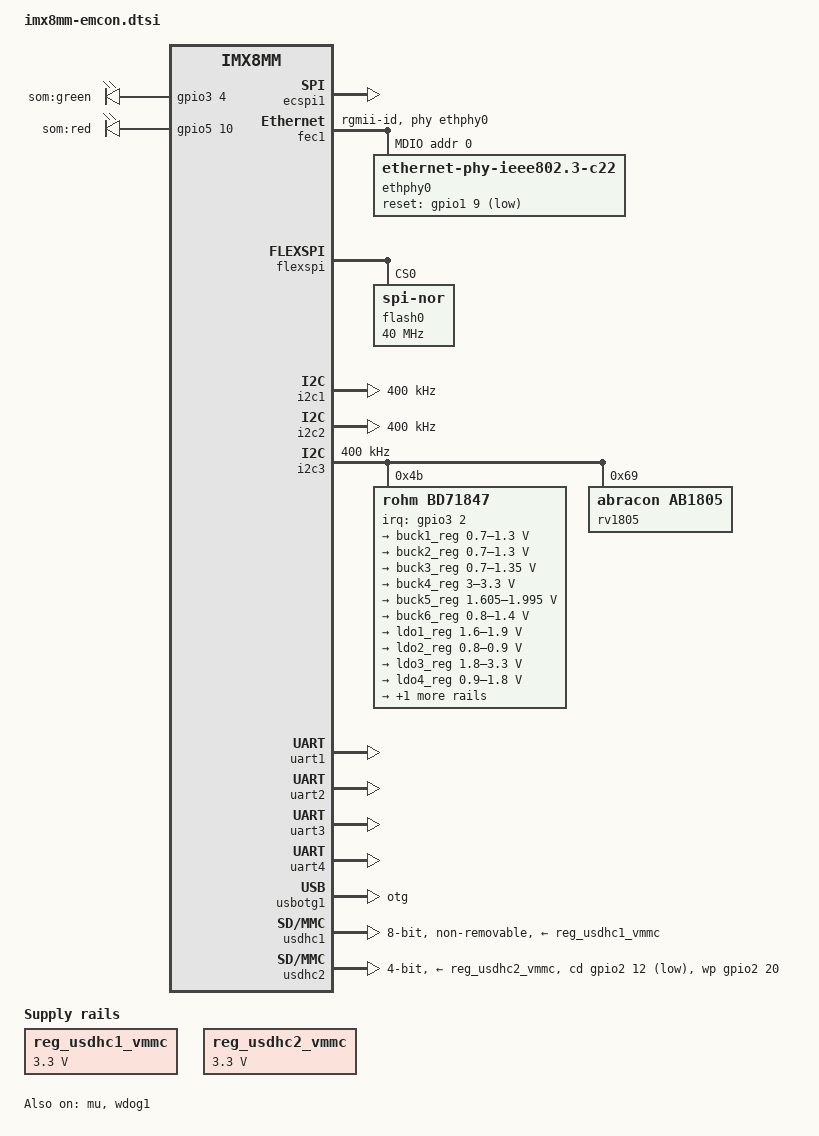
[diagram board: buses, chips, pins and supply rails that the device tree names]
// SPDX-License-Identifier: (GPL-2.0 or MIT)
//
// Copyright 2018 NXP
// Copyright (C) 2021 emtrion GmbH
//

/dts-v1/;

#include "imx8mm.dtsi"

/ {
	chosen {
		stdout-path = &uart1;
	};

	som_leds: leds {
		compatible = "gpio-leds";
		pinctrl-names = "default";
		pinctrl-0 = <&pinctrl_gpio_led>;

		led-green {
			label = "som:green";
			gpios = <&gpio3 4 GPIO_ACTIVE_HIGH>;
			default-state = "on";
			linux,default-trigger = "heartbeat";
		};

		led-red {
			label = "som:red";
			gpios = <&gpio5 10 GPIO_ACTIVE_HIGH>;
			default-state = "off";
		};
	};

	lvds_backlight: lvds-backlight {
		compatible = "pwm-backlight";
		enable-gpios = <&gpio3 23 GPIO_ACTIVE_HIGH>;
		pwms = <&pwm1 0 50000 0>;
		brightness-levels = <
			0 4 8 16 32 64 80 96 112
			128 144 160 176 250
		>;
		default-brightness-level = <9>;
		status = "disabled";
	};

	reg_usdhc1_vmmc: regulator-emmc {
		compatible = "regulator-fixed";
		regulator-name = "eMMC";
		regulator-min-microvolt = <3300000>;
		regulator-max-microvolt = <3300000>;
	};

	reg_usdhc2_vmmc: regulator-usdhc2 {
		compatible = "regulator-fixed";
		regulator-name = "sdcard_3V3";
		regulator-min-microvolt = <3300000>;
		regulator-max-microvolt = <3300000>;
	};
};

&A53_0 {
	cpu-supply = <&buck2_reg>;
};

&ecspi1 {
	pinctrl-names = "default";
	pinctrl-0 = <&pinctrl_ecspi1 &pinctrl_ecspi1_cs>;
	cs-gpios = <&gpio5 9 GPIO_ACTIVE_LOW>,
				<&gpio5 13 GPIO_ACTIVE_LOW>;
	status = "okay";
};

&fec1 {
	pinctrl-names = "default";
	pinctrl-0 = <&pinctrl_fec1>;
	phy-mode = "rgmii-id";
	phy-handle = <&ethphy0>;
	fsl,magic-packet;
	status = "okay";

	mdio {
		#address-cells = <1>;
		#size-cells = <0>;

		ethphy0: ethernet-phy@0 {
			compatible = "ethernet-phy-ieee802.3-c22";
			reg = <0>;
			reset-gpios = <&gpio1 9 GPIO_ACTIVE_LOW>;
			reset-assert-us = <10000>;
		};
	};
};

&flexspi {
	pinctrl-names = "default";
	pinctrl-0 = <&pinctrl_flexspi0>;
	pinctrl-1 = <&pinctrl_flexspi1>;
	status = "okay";

	flash0: flash@0 {
		reg = <0>;
		#address-cells = <1>;
		#size-cells = <1>;
		compatible = "jedec,spi-nor";
		spi-max-frequency = <40000000>;
	};
};

&iomuxc {
	pinctrl-names = "default";

	pinctrl_csi_pwn: csi-pwn-grp {
		fsl,pins = <
			MX8MM_IOMUXC_GPIO1_IO07_GPIO1_IO7		0x19
		>;
	};

	pinctrl_ecspi1: ecspi1-grp {
		fsl,pins = <
			MX8MM_IOMUXC_ECSPI1_SCLK_ECSPI1_SCLK		0x82
			MX8MM_IOMUXC_ECSPI1_MOSI_ECSPI1_MOSI		0x82
			MX8MM_IOMUXC_ECSPI1_MISO_ECSPI1_MISO		0x82
		>;
	};

	pinctrl_ecspi1_cs: ecspi1-cs {
		fsl,pins = <
			MX8MM_IOMUXC_ECSPI1_SS0_GPIO5_IO9		0x40000
			MX8MM_IOMUXC_ECSPI2_SS0_GPIO5_IO13		0x40000
		>;
	};

	pinctrl_fec1: fec1-grp {
		fsl,pins = <
			MX8MM_IOMUXC_ENET_MDC_ENET1_MDC				0x3
			MX8MM_IOMUXC_ENET_MDIO_ENET1_MDIO			0x3
			MX8MM_IOMUXC_ENET_TD3_ENET1_RGMII_TD3		0x1f
			MX8MM_IOMUXC_ENET_TD2_ENET1_RGMII_TD2		0x1f
			MX8MM_IOMUXC_ENET_TD1_ENET1_RGMII_TD1		0x1f
			MX8MM_IOMUXC_ENET_TD0_ENET1_RGMII_TD0		0x1f
			MX8MM_IOMUXC_ENET_RD3_ENET1_RGMII_RD3		0x91
			MX8MM_IOMUXC_ENET_RD2_ENET1_RGMII_RD2		0x91
			MX8MM_IOMUXC_ENET_RD1_ENET1_RGMII_RD1		0x91
			MX8MM_IOMUXC_ENET_RD0_ENET1_RGMII_RD0		0x91
			MX8MM_IOMUXC_ENET_TXC_ENET1_RGMII_TXC		0x1f
			MX8MM_IOMUXC_ENET_RXC_ENET1_RGMII_RXC		0x91
			MX8MM_IOMUXC_ENET_RX_CTL_ENET1_RGMII_RX_CTL	0x91
			MX8MM_IOMUXC_ENET_TX_CTL_ENET1_RGMII_TX_CTL	0x1f
			MX8MM_IOMUXC_GPIO1_IO09_GPIO1_IO9			0x19
		>;
	};

	pinctrl_flexspi0: flexspi0-grp {
		fsl,pins = <
			MX8MM_IOMUXC_NAND_ALE_QSPI_A_SCLK		0x1c2
			MX8MM_IOMUXC_NAND_CE0_B_QSPI_A_SS0_B	0x82
			MX8MM_IOMUXC_NAND_DATA00_QSPI_A_DATA0	0x82
			MX8MM_IOMUXC_NAND_DATA01_QSPI_A_DATA1	0x82
			MX8MM_IOMUXC_NAND_DATA02_QSPI_A_DATA2	0x82
			MX8MM_IOMUXC_NAND_DATA03_QSPI_A_DATA3	0x82
			MX8MM_IOMUXC_NAND_DQS_QSPI_A_DQS		0x82
		>;
	};

	pinctrl_flexspi1: flexspi1-grp {
		fsl,pins = <
			MX8MM_IOMUXC_NAND_CLE_QSPI_B_SCLK		0x1c2
			MX8MM_IOMUXC_NAND_CE2_B_QSPI_B_SS0_B	0x82
			MX8MM_IOMUXC_NAND_DATA04_QSPI_B_DATA0	0x82
			MX8MM_IOMUXC_NAND_DATA05_QSPI_B_DATA1	0x82
			MX8MM_IOMUXC_NAND_DATA06_QSPI_B_DATA2	0x82
			MX8MM_IOMUXC_NAND_DATA07_QSPI_B_DATA3	0x82
		>;
	};

	pinctrl_gpio_led: gpio-led-grp {
		fsl,pins = <
			MX8MM_IOMUXC_ECSPI2_SCLK_GPIO5_IO10		0x19
			MX8MM_IOMUXC_NAND_CE3_B_GPIO3_IO4		0x19
		>;
	};

	pinctrl_i2c1: i2c1-grp {
		fsl,pins = <
			MX8MM_IOMUXC_I2C1_SCL_I2C1_SCL			0x400001c3
			MX8MM_IOMUXC_I2C1_SDA_I2C1_SDA			0x400001c3
		>;
	};

	pinctrl_i2c2: i2c2grp {
		fsl,pins = <
			MX8MM_IOMUXC_I2C2_SCL_I2C2_SCL			0x400001c3
			MX8MM_IOMUXC_I2C2_SDA_I2C2_SDA			0x400001c3
		>;
	};

	pinctrl_i2c3: i2c3-grp {
		fsl,pins = <
			MX8MM_IOMUXC_I2C3_SCL_I2C3_SCL			0x400001c3
			MX8MM_IOMUXC_I2C3_SDA_I2C3_SDA			0x400001c3
		>;
	};

	pinctrl_lvds: lvds-grp {
		fsl,pins = <
			MX8MM_IOMUXC_SAI5_MCLK_GPIO3_IO25		0x06
		>;
	};

	pinctrl_pcie0: pcie0-grp {
		fsl,pins = <
			MX8MM_IOMUXC_SAI5_RXC_GPIO3_IO20		0x41
			MX8MM_IOMUXC_SAI5_RXFS_GPIO3_IO19		0x41
		>;
	};

	pinctrl_pmic: pmic-irq {
		fsl,pins = <
			MX8MM_IOMUXC_NAND_CE1_B_GPIO3_IO2		0x41
		>;
	};

	pinctrl_pwm1: pwm1-grp {
		fsl,pins = <
			MX8MM_IOMUXC_GPIO1_IO01_PWM1_OUT		0x06
		>;
	};

	pinctrl_sai2: sai2-grp {
		fsl,pins = <
			MX8MM_IOMUXC_SAI2_MCLK_SAI2_MCLK		0xd6
			MX8MM_IOMUXC_SAI2_RXC_SAI2_RX_BCLK		0xd6
			MX8MM_IOMUXC_SAI2_RXD0_SAI2_RX_DATA0	0xd6
			MX8MM_IOMUXC_SAI2_RXFS_SAI2_RX_SYNC		0xd6
			MX8MM_IOMUXC_SAI2_TXC_SAI2_TX_BCLK		0xd6
			MX8MM_IOMUXC_SAI2_TXD0_SAI2_TX_DATA0	0xd6
			MX8MM_IOMUXC_SAI2_TXFS_SAI2_TX_SYNC		0xd6
		>;
	};

	pinctrl_spdif1: spdif1-grp {
		fsl,pins = <
			MX8MM_IOMUXC_SPDIF_TX_SPDIF1_OUT		0xd6
			MX8MM_IOMUXC_SPDIF_RX_SPDIF1_IN			0xd6
		>;
	};

	pinctrl_uart1: uart1-grp {
		fsl,pins = <
			MX8MM_IOMUXC_UART1_RXD_UART1_DCE_RX		0x140
			MX8MM_IOMUXC_UART1_TXD_UART1_DCE_TX		0x140
		>;
	};

	pinctrl_uart2: uart2-grp {
		fsl,pins = <
			MX8MM_IOMUXC_UART2_RXD_UART2_DCE_RX		0x140
			MX8MM_IOMUXC_UART2_TXD_UART2_DCE_TX		0x140

			/* rts and cts */
			MX8MM_IOMUXC_SAI3_RXC_UART2_DCE_CTS_B	0x140
			MX8MM_IOMUXC_SAI3_RXD_UART2_DCE_RTS_B	0x140
		>;
	};

	pinctrl_uart3: uart3-grp {
		fsl,pins = <
			MX8MM_IOMUXC_UART3_RXD_UART3_DCE_RX		0x140
			MX8MM_IOMUXC_UART3_TXD_UART3_DCE_TX		0x140
		>;
	};

	pinctrl_uart4: uart4-grp {
		fsl,pins = <
			MX8MM_IOMUXC_UART4_RXD_UART4_DCE_RX		0x140
			MX8MM_IOMUXC_UART4_TXD_UART4_DCE_TX		0x140
		>;
	};

	pinctrl_usdhc1: usdhc1-grp {
		fsl,pins = <
			MX8MM_IOMUXC_SD1_CLK_USDHC1_CLK			0x190
			MX8MM_IOMUXC_SD1_CMD_USDHC1_CMD			0x1d0
			MX8MM_IOMUXC_SD1_DATA0_USDHC1_DATA0		0x1d0
			MX8MM_IOMUXC_SD1_DATA1_USDHC1_DATA1		0x1d0
			MX8MM_IOMUXC_SD1_DATA2_USDHC1_DATA2		0x1d0
			MX8MM_IOMUXC_SD1_DATA3_USDHC1_DATA3		0x1d0
			MX8MM_IOMUXC_SD1_DATA4_USDHC1_DATA4		0x1d0
			MX8MM_IOMUXC_SD1_DATA5_USDHC1_DATA5		0x1d0
			MX8MM_IOMUXC_SD1_DATA6_USDHC1_DATA6		0x1d0
			MX8MM_IOMUXC_SD1_DATA7_USDHC1_DATA7		0x1d0
		>;
	};

	pinctrl_usdhc1_100mhz: usdhc1-100mhz-grp {
		fsl,pins = <
			MX8MM_IOMUXC_SD1_CLK_USDHC1_CLK			0x194
			MX8MM_IOMUXC_SD1_CMD_USDHC1_CMD			0x1d4
			MX8MM_IOMUXC_SD1_DATA0_USDHC1_DATA0		0x1d4
			MX8MM_IOMUXC_SD1_DATA1_USDHC1_DATA1		0x1d4
			MX8MM_IOMUXC_SD1_DATA2_USDHC1_DATA2		0x1d4
			MX8MM_IOMUXC_SD1_DATA3_USDHC1_DATA3		0x1d4
			MX8MM_IOMUXC_SD1_DATA4_USDHC1_DATA4		0x1d4
			MX8MM_IOMUXC_SD1_DATA5_USDHC1_DATA5		0x1d4
			MX8MM_IOMUXC_SD1_DATA6_USDHC1_DATA6		0x1d4
			MX8MM_IOMUXC_SD1_DATA7_USDHC1_DATA7		0x1d4
		>;
	};

	pinctrl_usdhc1_200mhz: usdhc1-200mhz-grp {
		fsl,pins = <
			MX8MM_IOMUXC_SD1_CLK_USDHC1_CLK			0x196
			MX8MM_IOMUXC_SD1_CMD_USDHC1_CMD			0x1d6
			MX8MM_IOMUXC_SD1_DATA0_USDHC1_DATA0		0x1d6
			MX8MM_IOMUXC_SD1_DATA1_USDHC1_DATA1		0x1d6
			MX8MM_IOMUXC_SD1_DATA2_USDHC1_DATA2		0x1d6
			MX8MM_IOMUXC_SD1_DATA3_USDHC1_DATA3		0x1d6
			MX8MM_IOMUXC_SD1_DATA4_USDHC1_DATA4		0x1d6
			MX8MM_IOMUXC_SD1_DATA5_USDHC1_DATA5		0x1d6
			MX8MM_IOMUXC_SD1_DATA6_USDHC1_DATA6		0x1d6
			MX8MM_IOMUXC_SD1_DATA7_USDHC1_DATA7		0x1d6
		>;
	};

	pinctrl_usdhc1_gpio: usdhc1-gpio-grp {
		fsl,pins = <
			MX8MM_IOMUXC_SD1_RESET_B_USDHC1_RESET_B	0x41
			MX8MM_IOMUXC_GPIO1_IO03_GPIO1_IO3		0x1c4
		>;
	};

	pinctrl_usdhc2: usdhc2-grp {
		fsl,pins = <
			MX8MM_IOMUXC_SD2_CLK_USDHC2_CLK			0x190
			MX8MM_IOMUXC_SD2_CMD_USDHC2_CMD			0x1d0
			MX8MM_IOMUXC_SD2_DATA0_USDHC2_DATA0		0x1d0
			MX8MM_IOMUXC_SD2_DATA1_USDHC2_DATA1		0x1d0
			MX8MM_IOMUXC_SD2_DATA2_USDHC2_DATA2		0x1d0
			MX8MM_IOMUXC_SD2_DATA3_USDHC2_DATA3		0x1d0
			MX8MM_IOMUXC_GPIO1_IO04_USDHC2_VSELECT	0x1d0
		>;
	};

	pinctrl_usdhc2_100mhz: usdhc2-100mhz-grp {
		fsl,pins = <
			MX8MM_IOMUXC_SD2_CLK_USDHC2_CLK			0x194
			MX8MM_IOMUXC_SD2_CMD_USDHC2_CMD			0x1d4
			MX8MM_IOMUXC_SD2_DATA0_USDHC2_DATA0		0x1d4
			MX8MM_IOMUXC_SD2_DATA1_USDHC2_DATA1		0x1d4
			MX8MM_IOMUXC_SD2_DATA2_USDHC2_DATA2		0x1d4
			MX8MM_IOMUXC_SD2_DATA3_USDHC2_DATA3		0x1d4
			MX8MM_IOMUXC_GPIO1_IO04_USDHC2_VSELECT	0x1d0
		>;
	};

	pinctrl_usdhc2_200mhz: usdhc2-200mhz-grp {
		fsl,pins = <
			MX8MM_IOMUXC_SD2_CLK_USDHC2_CLK			0x196
			MX8MM_IOMUXC_SD2_CMD_USDHC2_CMD			0x1d6
			MX8MM_IOMUXC_SD2_DATA0_USDHC2_DATA0		0x1d6
			MX8MM_IOMUXC_SD2_DATA1_USDHC2_DATA1		0x1d6
			MX8MM_IOMUXC_SD2_DATA2_USDHC2_DATA2		0x1d6
			MX8MM_IOMUXC_SD2_DATA3_USDHC2_DATA3		0x1d6
			MX8MM_IOMUXC_GPIO1_IO04_USDHC2_VSELECT	0x1d0
		>;
	};

	/* no reset for sdhc2 interface */
	pinctrl_usdhc2_gpio: usdhc2-gpio-grp {
		fsl,pins = <
			MX8MM_IOMUXC_SD2_CD_B_GPIO2_IO12		0x1c4
			MX8MM_IOMUXC_SD2_WP_USDHC2_WP			0x1c4
		>;
	};

	pinctrl_wdog: wdog-grp {
		fsl,pins = <
			MX8MM_IOMUXC_GPIO1_IO02_WDOG1_WDOG_B	0xc6
		>;
	};
};

&i2c1 {
	clock-frequency = <400000>;
	pinctrl-names = "default";
	pinctrl-0 = <&pinctrl_i2c1>;
	status = "okay";
};

&i2c2 {
	clock-frequency = <400000>;
	pinctrl-names = "default";
	pinctrl-0 = <&pinctrl_i2c2>;
	status = "okay";
};

&i2c3 {
	clock-frequency = <400000>;
	pinctrl-names = "default";
	pinctrl-0 = <&pinctrl_i2c3>;
	status = "okay";

	bd71847: pmic@4b {
		compatible = "rohm,bd71847";
		reg = <0x4b>;
		pinctrl-0 = <&pinctrl_pmic>;
		interrupt-parent = <&gpio3>;
		interrupts = <2 IRQ_TYPE_LEVEL_LOW>;
		rohm,reset-snvs-powered;

		regulators {
			buck1_reg: BUCK1 {
				regulator-name = "BUCK1";
				regulator-min-microvolt = <700000>;
				regulator-max-microvolt = <1300000>;
				regulator-boot-on;
				regulator-always-on;
				regulator-ramp-delay = <1250>;
			};

			buck2_reg: BUCK2 {
				regulator-name = "BUCK2";
				regulator-min-microvolt = <700000>;
				regulator-max-microvolt = <1300000>;
				regulator-boot-on;
				regulator-always-on;
				regulator-ramp-delay = <1250>;
				rohm,dvs-run-voltage = <1000000>;
				rohm,dvs-idle-voltage = <900000>;
			};

			buck3_reg: BUCK3 {
				// BUCK5 in datasheet
				regulator-name = "BUCK3";
				regulator-min-microvolt = <700000>;
				regulator-max-microvolt = <1350000>;
				regulator-boot-on;
				regulator-always-on;
			};

			buck4_reg: BUCK4 {
				// BUCK6 in datasheet
				regulator-name = "BUCK4";
				regulator-min-microvolt = <3000000>;
				regulator-max-microvolt = <3300000>;
				regulator-boot-on;
				regulator-always-on;
			};

			buck5_reg: BUCK5 {
				// BUCK7 in datasheet
				regulator-name = "BUCK5";
				regulator-min-microvolt = <1605000>;
				regulator-max-microvolt = <1995000>;
				regulator-boot-on;
				regulator-always-on;
			};

			buck6_reg: BUCK6 {
				// BUCK8 in datasheet
				regulator-name = "BUCK6";
				regulator-min-microvolt = <800000>;
				regulator-max-microvolt = <1400000>;
				regulator-boot-on;
				regulator-always-on;
			};

			ldo1_reg: LDO1 {
				regulator-name = "LDO1";
				regulator-min-microvolt = <1600000>;
				regulator-max-microvolt = <1900000>;
				regulator-boot-on;
				regulator-always-on;
			};

			ldo2_reg: LDO2 {
				regulator-name = "LDO2";
				regulator-min-microvolt = <800000>;
				regulator-max-microvolt = <900000>;
				regulator-boot-on;
				regulator-always-on;
			};

			ldo3_reg: LDO3 {
				regulator-name = "LDO3";
				regulator-min-microvolt = <1800000>;
				regulator-max-microvolt = <3300000>;
				regulator-boot-on;
				regulator-always-on;
			};

			ldo4_reg: LDO4 {
				regulator-name = "LDO4";
				regulator-min-microvolt = <900000>;
				regulator-max-microvolt = <1800000>;
				regulator-boot-on;
				regulator-always-on;
			};

			ldo6_reg: LDO6 {
				regulator-name = "LDO6";
				regulator-min-microvolt = <900000>;
				regulator-max-microvolt = <1800000>;
				regulator-boot-on;
				regulator-always-on;
			};
		};
	};

	rv1805: rtc@69 {
		compatible = "abracon,ab1805";
		reg = <0x69>;
	};
};

&mu {
	status = "okay";
};

&pwm1 {
	pinctrl-names = "default";
	pinctrl-0 = <&pinctrl_pwm1>;
};

&sai2 {
	#sound-dai-cells = <0>;
	pinctrl-names = "default";
	pinctrl-0 = <&pinctrl_sai2>;
	assigned-clocks = <&clk IMX8MM_CLK_SAI2>;
	assigned-clock-parents = <&clk IMX8MM_AUDIO_PLL1_OUT>;
	assigned-clock-rates = <12000000>;
	status = "disabled";
};

&spdif1 {
	pinctrl-names = "default";
	pinctrl-0 = <&pinctrl_spdif1>;
	assigned-clocks = <&clk IMX8MM_CLK_SPDIF1>;
	assigned-clock-parents = <&clk IMX8MM_AUDIO_PLL1_OUT>;
	assigned-clock-rates = <24576000>;
	clocks = <&clk IMX8MM_CLK_AUDIO_AHB>, <&clk IMX8MM_CLK_24M>,
		<&clk IMX8MM_CLK_SPDIF1>, <&clk IMX8MM_CLK_DUMMY>,
		<&clk IMX8MM_CLK_DUMMY>, <&clk IMX8MM_CLK_DUMMY>,
		<&clk IMX8MM_CLK_AUDIO_AHB>, <&clk IMX8MM_CLK_DUMMY>,
		<&clk IMX8MM_CLK_DUMMY>, <&clk IMX8MM_CLK_DUMMY>,
		<&clk IMX8MM_AUDIO_PLL1_OUT>, <&clk IMX8MM_AUDIO_PLL2_OUT>;
	clock-names = "core", "rxtx0", "rxtx1", "rxtx2", "rxtx3",
		"rxtx4", "rxtx5", "rxtx6", "rxtx7", "spba", "pll8k", "pll11k";
	status = "disabled";
};

&uart1 { /* console */
	pinctrl-names = "default";
	pinctrl-0 = <&pinctrl_uart1>;
	assigned-clocks = <&clk IMX8MM_CLK_UART1>;
	assigned-clock-parents = <&clk IMX8MM_SYS_PLL1_80M>;
	status = "okay";
};

&uart2 {
	pinctrl-names = "default";
	pinctrl-0 = <&pinctrl_uart2>;
	assigned-clocks = <&clk IMX8MM_CLK_UART2>;
	assigned-clock-parents = <&clk IMX8MM_SYS_PLL1_80M>;
	status = "okay";
};

&uart3 {
	pinctrl-names = "default";
	pinctrl-0 = <&pinctrl_uart3>;
	assigned-clocks = <&clk IMX8MM_CLK_UART3>;
	assigned-clock-parents = <&clk IMX8MM_SYS_PLL1_80M>;
	status = "okay";
};

&uart4 {
	pinctrl-names = "default";
	pinctrl-0 = <&pinctrl_uart4>;
	assigned-clocks = <&clk IMX8MM_CLK_UART4>;
	assigned-clock-parents = <&clk IMX8MM_SYS_PLL1_80M>;
	status = "okay";
};

&usbotg1 {
	dr_mode = "otg";
	over-current-active-low;
	status = "okay";
};

&usbotg2 {
	dr_mode = "host";
	disable-over-current;
	status = "disabled";
};

&usdhc1 {
	pinctrl-names = "default", "state_100mhz", "state_200mhz";
	pinctrl-0 = <&pinctrl_usdhc1>, <&pinctrl_usdhc1_gpio>;
	pinctrl-1 = <&pinctrl_usdhc1_100mhz>, <&pinctrl_usdhc1_gpio>;
	pinctrl-2 = <&pinctrl_usdhc1_200mhz>, <&pinctrl_usdhc1_gpio>;
	bus-width = <8>;
	vmmc-supply = <&reg_usdhc1_vmmc>;
	keep-power-in-suspend;
	non-removable;
	status = "okay";
};

&usdhc2 {
	pinctrl-names = "default", "state_100mhz", "state_200mhz";
	pinctrl-0 = <&pinctrl_usdhc2>, <&pinctrl_usdhc2_gpio>;
	pinctrl-1 = <&pinctrl_usdhc2_100mhz>, <&pinctrl_usdhc2_gpio>;
	pinctrl-2 = <&pinctrl_usdhc2_200mhz>, <&pinctrl_usdhc2_gpio>;
	cd-gpios = <&gpio2 12 GPIO_ACTIVE_LOW>;
	wp-gpios = <&gpio2 20 GPIO_ACTIVE_HIGH>;
	bus-width = <4>;
	vmmc-supply = <&reg_usdhc2_vmmc>;
	no-1-8-v;
	status = "okay";
};

&wdog1 {
	pinctrl-names = "default";
	pinctrl-0 = <&pinctrl_wdog>;
	fsl,ext-reset-output;
	status = "okay";
};
